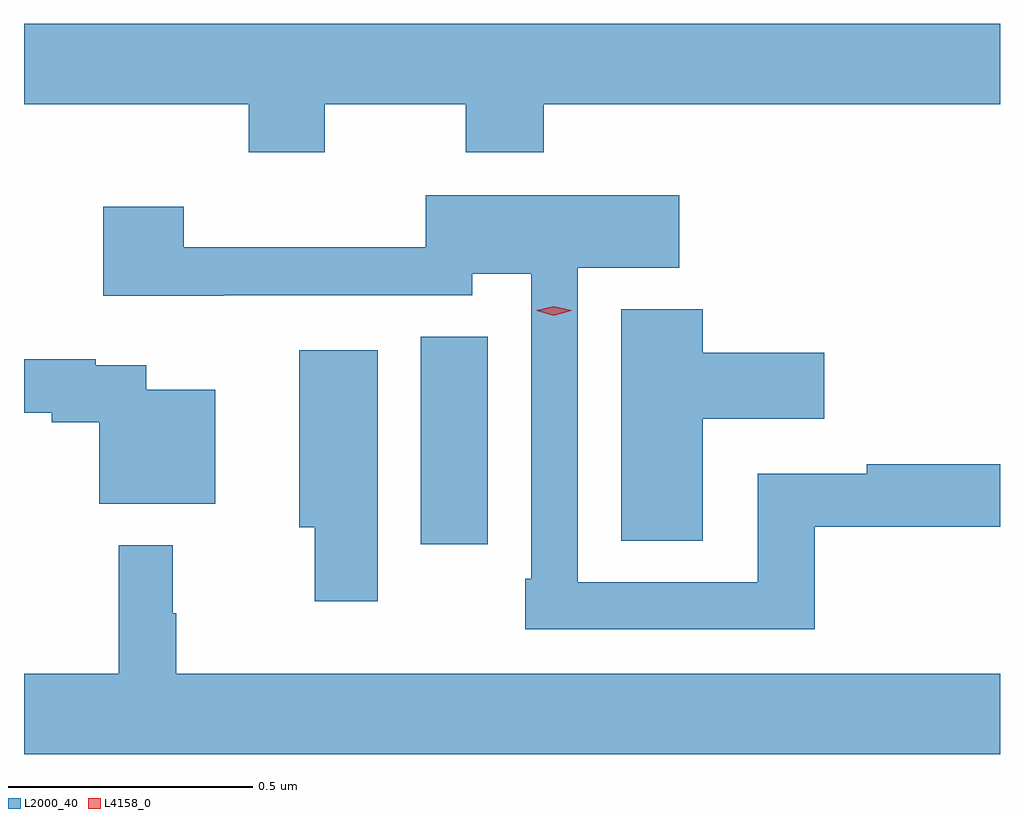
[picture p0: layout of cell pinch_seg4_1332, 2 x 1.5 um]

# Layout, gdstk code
import gdstk
lib = gdstk.Library(unit=1e-6, precision=1e-09)
def R(c, l, rs):  # rectangles x0, y0, x1, y1
    for r in rs: c.add(gdstk.rectangle(r[:2], r[2:], *l))
def P(c, l, *ps):  # polygons
    for p in ps: c.add(gdstk.Polygon(p, *l))
L2000_40 = (2000, 40)
L4158_0 = (4158, 0)

pinch_seg4_1332 = lib.new_cell('pinch_seg4_1332')
R(pinch_seg4_1332, L2000_40, [(285.896,775.938,286.033,776.363)])
P(pinch_seg4_1332, L2000_40, [(285.699,776.84),(285.988,776.84),(285.988,776.741),(286.148,776.741),(286.148,776.84),(287.083,776.84),(287.083,777.004),(285.083,777.004),(285.083,776.84),(285.544,776.84),(285.544,776.741),(285.699,776.741)],
  [(286.703,775.974),(287.083,775.974),(287.083,776.102),(286.81,776.102),(286.81,776.082),(286.587,776.082),(286.587,775.86),(286.218,775.86),(286.218,776.504),(286.426,776.504),(286.426,776.653),(285.906,776.653),(285.906,776.546),(285.41,776.546),(285.41,776.629),(285.245,776.629),(285.245,776.447),(285.493,776.447),(285.493,776.448),(286.002,776.448),(286.002,776.492),(286.122,776.492),(286.122,775.867),(286.11,775.867),(286.11,775.764),(286.703,775.764)],
  [(286.474,776.195),(286.723,776.195),(286.723,776.33),(286.474,776.33),(286.474,776.419),(286.307,776.419),(286.307,775.945),(286.474,775.945)],
  [(285.808,776.335),(285.647,776.335),(285.647,775.973),(285.679,775.973),(285.679,775.821),(285.808,775.821)],
  [(285.475,776.254),(285.333,776.254),(285.333,776.305),(285.23,776.305),(285.23,776.317),(285.083,776.317),(285.083,776.207),(285.14,776.207),(285.14,776.188),(285.237,776.188),(285.237,776.021),(285.475,776.021)],
  [(287.083,775.672),(285.395,775.672),(285.395,775.796),(285.388,775.796),(285.388,775.936),(285.277,775.936),(285.277,775.672),(285.083,775.672),(285.083,775.508),(287.083,775.508)])
P(pinch_seg4_1332, L4158_0, [(286.169,776.406),(286.134,776.416),(286.134,776.416),(286.134,776.417),(286.169,776.426),(286.204,776.417),(286.204,776.416),(286.204,776.416)])

lib.write_gds('pinch_seg4_1332.gds')
